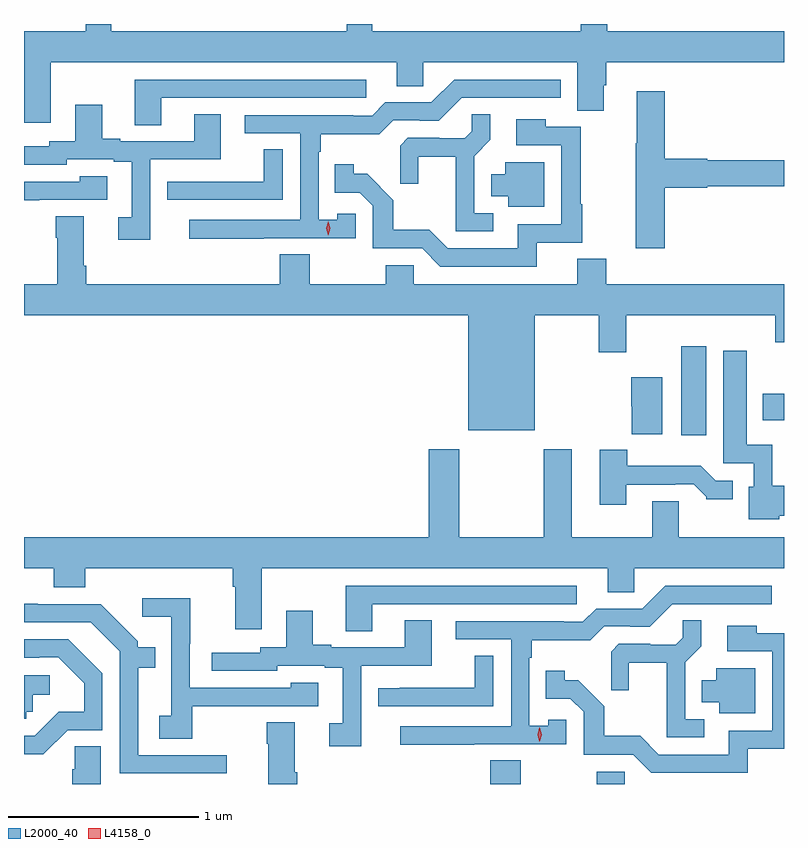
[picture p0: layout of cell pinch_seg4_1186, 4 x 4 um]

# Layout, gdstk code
import gdstk
lib = gdstk.Library(unit=1e-6, precision=1e-09)
def R(c, l, rs):  # rectangles x0, y0, x1, y1
    for r in rs: c.add(gdstk.rectangle(r[:2], r[2:], *l))
def P(c, l, *ps):  # polygons
    for p in ps: c.add(gdstk.Polygon(p, *l))
L2000_40 = (2000, 40)
L4158_0 = (4158, 0)

pinch_seg4_1186 = lib.new_cell('pinch_seg4_1186')
R(pinch_seg4_1186, L2000_40, [(338.849,795.685,339.009,795.809), (339.409,795.685,339.555,795.75), (339.854,797.52,339.985,797.989), (340.283,797.6,340.394,797.74)])
P(pinch_seg4_1186, L2000_40, [(336.535,799.484),(338.357,799.484),(338.357,799.357),(338.496,799.357),(338.496,799.484),(339.305,799.484),(339.305,799.228),(339.445,799.228),(339.445,799.362),(339.458,799.362),(339.458,799.484),(340.394,799.484),(340.394,799.648),(339.463,799.648),(339.463,799.685),(339.323,799.685),(339.323,799.648),(338.228,799.648),(338.228,799.685),(338.092,799.685),(338.092,799.648),(336.854,799.648),(336.854,799.685),(336.718,799.685),(336.718,799.648),(336.394,799.648),(336.394,799.388),(336.395,799.388),(336.395,799.164),(336.535,799.164)],
  [(337.117,799.296),(338.194,799.296),(338.194,799.392),(336.977,799.392),(336.977,799.153),(337.117,799.153)],
  [(337.655,798.558),(338.139,798.558),(338.139,798.687),(338.043,798.687),(338.043,798.655),(337.944,798.655),(337.944,799.013),(337.957,799.013),(337.957,799.106),(338.264,799.106),(338.337,799.179),(338.476,799.179),(338.476,799.176),(338.577,799.176),(338.697,799.296),(339.22,799.296),(339.22,799.392),(338.658,799.392),(338.538,799.272),(338.295,799.272),(338.226,799.203),(338.126,799.203),(338.126,799.206),(337.557,799.206),(337.557,799.11),(337.848,799.11),(337.848,798.654),(337.263,798.654),(337.263,798.556),(337.655,798.556)],
  [(339.767,798.824),(339.99,798.824),(339.99,798.832),(340.394,798.832),(340.394,798.968),(339.99,798.968),(339.99,798.976),(339.767,798.976),(339.767,799.33),(339.62,799.33),(339.62,799.057),(339.613,799.057),(339.613,798.504),(339.767,798.504)],
  [(337.059,798.972),(337.429,798.972),(337.429,799.211),(337.289,799.211),(337.289,799.068),(336.901,799.068),(336.901,799.081),(336.805,799.081),(336.805,799.261),(336.665,799.261),(336.665,799.068),(336.528,799.068),(336.528,799.041),(336.394,799.041),(336.394,798.945),(336.618,798.945),(336.618,798.972),(336.866,798.972),(336.866,798.96),(336.962,798.96),(336.962,798.669),(336.891,798.669),(336.891,798.549),(337.059,798.549)],
  [(338.863,798.69),(338.763,798.69),(338.763,798.989),(338.849,799.075),(338.849,799.211),(338.751,799.211),(338.751,799.12),(338.714,799.083),(338.58,799.083),(338.58,799.086),(338.415,799.086),(338.374,799.045),(338.374,798.843),(338.468,798.843),(338.468,798.986),(338.666,798.986),(338.666,798.594),(338.863,798.594)],
  [(339.092,798.534),(339.331,798.534),(339.331,798.737),(339.323,798.737),(339.323,799.143),(339.141,799.143),(339.141,799.183),(338.985,799.183),(338.985,799.047),(339.222,799.047),(339.222,798.63),(338.993,798.63),(338.993,798.504),(338.625,798.504),(338.527,798.603),(338.338,798.603),(338.338,798.758),(338.2,798.896),(338.13,798.896),(338.13,798.946),(338.029,798.946),(338.029,798.798),(338.16,798.798),(338.229,798.729),(338.229,798.504),(338.49,798.504),(338.586,798.408),(339.092,798.408)],
  [(337.755,799.025),(337.657,799.025),(337.657,798.855),(337.261,798.855),(337.261,798.854),(337.149,798.854),(337.149,798.759),(337.755,798.759)],
  [(339.133,798.958),(338.927,798.958),(338.927,798.895),(338.852,798.895),(338.852,798.779),(338.942,798.779),(338.942,798.722),(339.133,798.722)],
  [(336.473,798.759),(336.832,798.759),(336.832,798.883),(336.687,798.883),(336.687,798.855),(336.394,798.855),(336.394,798.757),(336.473,798.757)],
  [(339.082,798.152),(339.418,798.152),(339.418,797.958),(339.565,797.958),(339.565,798.152),(340.349,798.152),(340.349,798.011),(340.394,798.011),(340.394,798.316),(339.458,798.316),(339.458,798.449),(339.305,798.449),(339.305,798.316),(338.445,798.316),(338.445,798.414),(338.299,798.414),(338.299,798.316),(337.899,798.316),(337.899,798.473),(337.739,798.473),(337.739,798.316),(336.722,798.316),(336.722,798.412),(336.709,798.412),(336.709,798.673),(336.562,798.673),(336.562,798.56),(336.569,798.56),(336.569,798.316),(336.394,798.316),(336.394,798.152),(338.732,798.152),(338.732,797.546),(339.082,797.546)],
  [(340.368,797.096),(340.394,797.096),(340.394,797.254),(340.332,797.254),(340.332,797.47),(340.198,797.47),(340.198,797.965),(340.073,797.965),(340.073,797.373),(340.236,797.373),(340.236,797.25),(340.208,797.25),(340.208,797.078),(340.368,797.078)],
  [(339.754,797.827),(339.59,797.827),(339.59,797.673),(339.592,797.673),(339.592,797.525),(339.754,797.525)],
  [(337.645,796.82),(339.467,796.82),(339.467,796.693),(339.606,796.693),(339.606,796.82),(340.394,796.82),(340.394,796.984),(339.841,796.984),(339.841,797.174),(339.701,797.174),(339.701,796.984),(339.277,796.984),(339.277,797.446),(339.13,797.446),(339.13,796.984),(338.685,796.984),(338.685,797.446),(338.525,797.446),(338.525,796.984),(336.394,796.984),(336.394,796.82),(336.551,796.82),(336.551,796.721),(336.716,796.721),(336.716,796.82),(337.493,796.82),(337.493,796.724),(337.505,796.724),(337.505,796.5),(337.645,796.5)],
  [(339.565,797.259),(339.821,797.259),(339.821,797.262),(339.92,797.262),(339.984,797.198),(339.984,797.183),(340.123,797.183),(340.123,797.28),(340.035,797.28),(339.957,797.359),(339.568,797.359),(339.568,797.443),(339.425,797.443),(339.425,797.154),(339.565,797.154)],
  [(338.765,795.894),(339.249,795.894),(339.249,796.023),(339.153,796.023),(339.153,795.991),(339.054,795.991),(339.054,796.349),(339.067,796.349),(339.067,796.442),(339.374,796.442),(339.447,796.515),(339.586,796.515),(339.586,796.512),(339.687,796.512),(339.807,796.632),(340.33,796.632),(340.33,796.728),(339.768,796.728),(339.648,796.608),(339.405,796.608),(339.336,796.539),(339.236,796.539),(339.236,796.542),(338.667,796.542),(338.667,796.446),(338.958,796.446),(338.958,795.99),(338.373,795.99),(338.373,795.892),(338.765,795.892)],
  [(338.227,796.632),(339.304,796.632),(339.304,796.728),(338.087,796.728),(338.087,796.489),(338.227,796.489)],
  [(337.279,796.093),(337.583,796.093),(337.583,796.095),(337.942,796.095),(337.942,796.219),(337.797,796.219),(337.797,796.191),(337.266,796.191),(337.266,796.424),(337.269,796.424),(337.269,796.663),(337.017,796.663),(337.017,796.565),(337.17,796.565),(337.17,796.044),(337.107,796.044),(337.107,795.922),(337.279,795.922)],
  [(337.462,795.837),(336.994,795.837),(336.994,796.296),(337.085,796.296),(337.085,796.405),(336.993,796.405),(336.993,796.437),(336.798,796.632),(336.467,796.632),(336.467,796.634),(336.394,796.634),(336.394,796.536),(336.744,796.536),(336.897,796.383),(336.897,795.741),(337.462,795.741)],
  [(338.169,796.308),(338.539,796.308),(338.539,796.547),(338.399,796.547),(338.399,796.404),(338.011,796.404),(338.011,796.417),(337.915,796.417),(337.915,796.597),(337.775,796.597),(337.775,796.404),(337.638,796.404),(337.638,796.377),(337.383,796.377),(337.383,796.281),(337.728,796.281),(337.728,796.308),(337.976,796.308),(337.976,796.296),(338.072,796.296),(338.072,796.005),(338.001,796.005),(338.001,795.885),(338.169,795.885)],
  [(339.973,796.026),(339.873,796.026),(339.873,796.325),(339.959,796.411),(339.959,796.547),(339.861,796.547),(339.861,796.456),(339.824,796.419),(339.69,796.419),(339.69,796.422),(339.525,796.422),(339.484,796.381),(339.484,796.179),(339.578,796.179),(339.578,796.322),(339.776,796.322),(339.776,795.93),(339.973,795.93)],
  [(340.202,795.87),(340.394,795.87),(340.394,796.479),(340.251,796.479),(340.251,796.519),(340.095,796.519),(340.095,796.383),(340.332,796.383),(340.332,795.966),(340.103,795.966),(340.103,795.84),(339.735,795.84),(339.637,795.939),(339.448,795.939),(339.448,796.094),(339.31,796.232),(339.24,796.232),(339.24,796.282),(339.139,796.282),(339.139,796.134),(339.27,796.134),(339.339,796.065),(339.339,795.84),(339.6,795.84),(339.696,795.744),(340.202,795.744)],
  [(336.624,795.969),(336.807,795.969),(336.807,796.267),(336.628,796.446),(336.394,796.446),(336.394,796.35),(336.473,796.35),(336.473,796.353),(336.573,796.353),(336.71,796.216),(336.71,796.066),(336.577,796.066),(336.45,795.939),(336.394,795.939),(336.394,795.842),(336.496,795.842)],
  [(338.865,796.361),(338.767,796.361),(338.767,796.191),(338.371,796.191),(338.371,796.19),(338.259,796.19),(338.259,796.095),(338.865,796.095)],
  [(340.243,796.294),(340.037,796.294),(340.037,796.231),(339.962,796.231),(339.962,796.115),(340.052,796.115),(340.052,796.058),(340.243,796.058)],
  [(336.405,796.065),(336.441,796.065),(336.441,796.154),(336.529,796.154),(336.529,796.257),(336.394,796.257),(336.394,796.029),(336.405,796.029)],
  [(337.832,795.748),(337.819,795.748),(337.819,796.009),(337.672,796.009),(337.672,795.896),(337.679,795.896),(337.679,795.685),(337.832,795.685)],
  [(336.799,795.884),(336.661,795.884),(336.661,795.762),(336.647,795.762),(336.647,795.685),(336.799,795.685)])
P(pinch_seg4_1186, L4158_0, [(337.995,798.573),(337.995,798.573),(337.985,798.609),(337.995,798.645),(337.995,798.646),(337.996,798.645),(338.005,798.609),(337.996,798.573)],
  [(339.108,795.909),(339.107,795.91),(339.098,795.945),(339.107,795.981),(339.108,795.981),(339.108,795.981),(339.118,795.945),(339.108,795.91)])

lib.write_gds('pinch_seg4_1186.gds')
